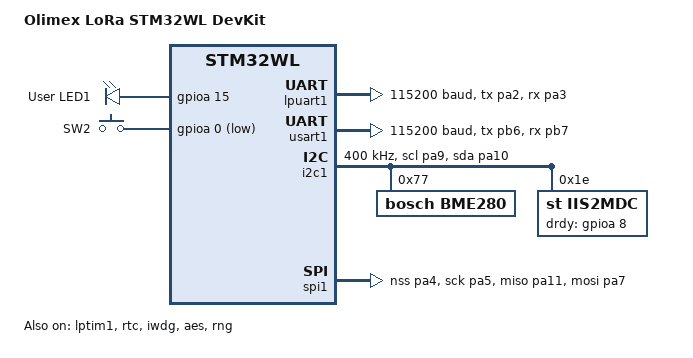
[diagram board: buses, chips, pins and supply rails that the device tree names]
/*
 * Copyright (c) 2022 Martin Jäger <martin@libre.solar>
 *
 * SPDX-License-Identifier: Apache-2.0
 */

/dts-v1/;
#include <olimex/bb-stm32wl.dtsi>
#include <zephyr/dt-bindings/input/input-event-codes.h>

/ {
	model = "Olimex LoRa STM32WL DevKit";
	compatible = "olimex,lora-stm32wl-devkit";

	chosen {
		zephyr,console = &usart1;
		zephyr,shell-uart = &usart1;
		zephyr,sram = &sram0;
		zephyr,flash = &flash0;
		zephyr,code-partition = &slot0_partition;
	};

	leds {
		compatible = "gpio-leds";
		green_led_1: led_0 {
			gpios = <&gpioa 15 GPIO_ACTIVE_HIGH>;
			label = "User LED1";
		};
	};

	gpio_keys {
		compatible = "gpio-keys";
		user_button: button_0 {
			label = "SW2";
			gpios = <&gpioa 0 (GPIO_ACTIVE_LOW | GPIO_PULL_UP)>;
			zephyr,code = <INPUT_KEY_0>;
		};
	};

	aliases {
		led0 = &green_led_1;
		sw0 = &user_button;
		lora0 = &lora;
		watchdog0 = &iwdg;
	};
};

stm32_lp_tick_source: &lptim1 {
	clocks = <&rcc STM32_CLOCK_BUS_APB1 0x80000000>,
		 <&rcc STM32_SRC_LSI LPTIM1_SEL(1)>;
	status = "okay";
};

&clk_lsi {
	status = "okay";
};

&pll {
	div-m = <1>;
	mul-n = <6>;
	div-r = <2>;
	div-q = <2>;
	clocks = <&clk_hsi>;
	status = "okay";
};

&rcc {
	clocks = <&pll>;
	clock-frequency = <DT_FREQ_M(48)>;
	cpu1-prescaler = <1>;
	ahb3-prescaler = <1>;
	apb1-prescaler = <1>;
	apb2-prescaler = <1>;
};

uext_serial: &lpuart1 {
	pinctrl-0 = <&lpuart1_tx_pa2 &lpuart1_rx_pa3>;
	pinctrl-names = "default";
	current-speed = <115200>;
	status = "okay";
};

&usart1 {
	pinctrl-0 = <&usart1_tx_pb6 &usart1_rx_pb7>;
	pinctrl-names = "default";
	current-speed = <115200>;
	status = "okay";
};

uext_i2c: &i2c1 {
	pinctrl-0 = <&i2c1_scl_pa9 &i2c1_sda_pa10>;
	pinctrl-names = "default";
	status = "okay";
	clock-frequency = <I2C_BITRATE_FAST>;

	bme280: bme280@77 {
		compatible = "bosch,bme280";
		status = "okay";
		reg = <0x77>;
	};

	iis2mdc@1e {
		compatible = "st,iis2mdc";
		reg = <0x1e>;
		drdy-gpios =  <&gpioa 8 GPIO_ACTIVE_HIGH>;
	};
};

uext_spi: &spi1 {
	pinctrl-0 = <&spi1_nss_pa4 &spi1_sck_pa5
		     &spi1_miso_pa11 &spi1_mosi_pa7>;
	pinctrl-names = "default";
	status = "okay";
};

&rtc {
	clocks = <&rcc STM32_CLOCK_BUS_APB1 0x00000400>,
		 <&rcc STM32_SRC_LSI RTC_SEL(2)>;
	status = "okay";
};

&iwdg {
	status = "okay";
};

&aes {
	status = "okay";
};

&rng {
	status = "okay";
};

&flash0 {
	partitions {
		compatible = "fixed-partitions";
		#address-cells = <1>;
		#size-cells = <1>;

		boot_partition: partition@0 {
			label = "mcuboot";
			reg = <0x00000000 DT_SIZE_K(32)>;
			read-only;
		};
		slot0_partition: partition@8000 {
			label = "image-0";
			reg = <0x00008000 DT_SIZE_K(108)>;
		};
		slot1_partition: partition@23000 {
			label = "image-1";
			reg = <0x00023000 DT_SIZE_K(108)>;
		};
		storage_partition: partition@3e000 {
			label = "storage";
			reg = <0x0003e000 DT_SIZE_K(8)>;
		};
	};
};
